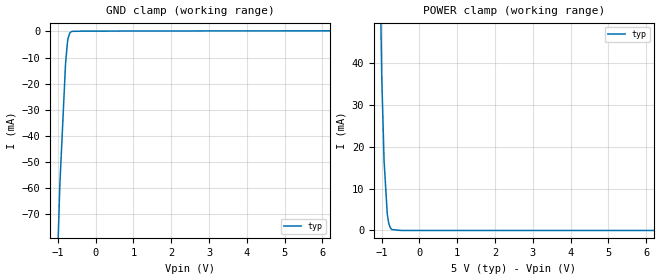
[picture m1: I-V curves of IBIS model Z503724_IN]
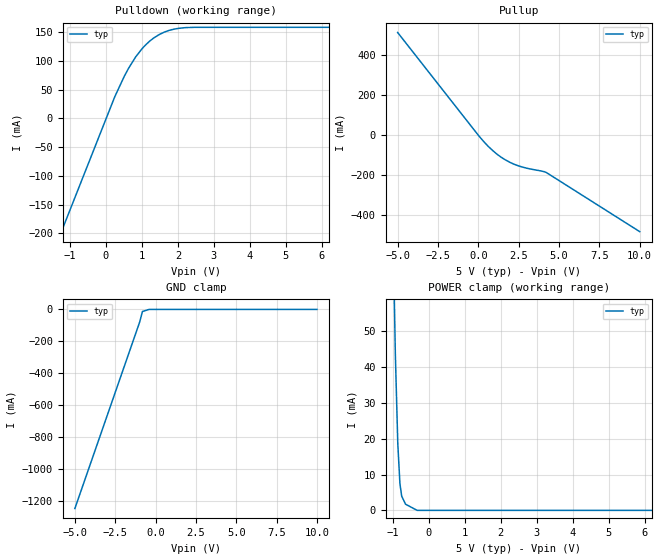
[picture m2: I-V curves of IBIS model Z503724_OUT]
| YOU ARE ONLY AUTHORIZED TO USE THIS SOFTWARE
| ACCORDING TO LICENSOR'S LICENSE RESTRICTIONS.
[IBIS Ver] 3.1
[File Name] mc74ac138n_5.ibs
[File Rev] 2.0
[Source] Measured and created by ICX Technology
[Date] Friday 7/14/00 9:07:58 AM
[Copyright]
| (C) COPYRIGHT 1993-2000
| MENTOR GRAPHICS CORPORATION
| ICX STANDARD LIBRARY, ICX PROJECT MODELING,
| ICX CUSTOM MODELING, ICX VENDOR MODEL
| ALL RIGHTS RESERVED.
| THE FOLLOWING ARE TRADEMARKS OR SERVICE MARKS OF
| MENTOR GRAPHICS CORPORATION:ICX (R), ICX STANDARD
| LIBRARY(R), ICX PROJECT MODELING(R), ICX CUSTOM
| MODELING(R), qualityIBIS(TM), MODELVIEWER(TM),
| AND MODELEDITOR(TM)
| ALL COPIES OF SOFTWARE, INCLUDING BUT NOT LIMITED TO
| ANY MODIFICATIONS, ENHANCEMENTS OR DERIVATIVE WORKS,
| MUST CONTAIN ALL MENTOR GRAPHICS CORPORATION'S
| NOTICES AND LEGENDS, INCLUDING THOSE EMBEDDED IN
| SOFTWARE AND THOSE AFFIXED TO SOFTWARE MEDIUM
| AND CONTAINER, AS RECEIVED FROM MENTOR GRAPHICS
| CORPORATION.
|  ZAP Model Builder 2.7
[Component] MC74AC138N_5
[Manufacturer] OnSemiconductor
[Package]
| variable   typ   min   max
R_pkg  .212ohms NA NA
L_pkg  4.758nH NA NA
C_pkg  1.143pF NA NA
[Pin] signal_name  model_name  R_pin  L_pin C_pin
1 A Z503724_IN .224 7.258n 1.578p
2 B Z503724_IN .216 5.258n 1.288p
3 C Z503724_IN .208 3.758n .998p
4 _G3 Z503724_IN .2 2.758n .708p
5 _G2 Z503724_IN .2 2.758n .708p
6 G1 Z503724_IN .208 3.758n .998p
7 _Y7 Z503724_OUT .216 5.258n 1.288p
8 GND GND .224 7.258n 1.578p
9 _Y6 Z503724_OUT .224 7.258n 1.578p
10 _Y5 Z503724_OUT .216 5.258n 1.288p
11 _Y4 Z503724_OUT .208 3.758n .998p
12 _Y3 Z503724_OUT .2 2.758n .708p
13 _Y2 Z503724_OUT .2 2.758n .708p
14 _Y1 Z503724_OUT .208 3.758n .998p
15 _Y0 Z503724_OUT .216 5.258n 1.288p
16 VCC POWER .224 7.258n 1.578p
| Models and submodels in the file (2): Z503724_IN (Input), Z503724_OUT (Output)
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| (C) COPYRIGHT 1993-2000
| MENTOR GRAPHICS CORPORATION
| ICX STANDARD LIBRARY, ICX PROJECT MODELING,
| ICX CUSTOM MODELING, ICX VENDOR MODEL
| ALL RIGHTS RESERVED.
| THE FOLLOWING ARE TRADEMARKS OR SERVICE MARKS OF
| MENTOR GRAPHICS CORPORATION:ICX (R), ICX STANDARD
| LIBRARY(R), ICX PROJECT MODELING(R), ICX CUSTOM
| MODELING(R), qualityIBIS(TM), MODELVIEWER(TM),
| AND MODELEDITOR(TM)
| ALL COPIES OF SOFTWARE, INCLUDING BUT NOT LIMITED TO
| ANY MODIFICATIONS, ENHANCEMENTS OR DERIVATIVE WORKS,
| MUST CONTAIN ALL MENTOR GRAPHICS CORPORATION'S
| NOTICES AND LEGENDS, INCLUDING THOSE EMBEDDED IN
| SOFTWARE AND THOSE AFFIXED TO SOFTWARE MEDIUM
| AND CONTAINER, AS RECEIVED FROM MENTOR GRAPHICS
| CORPORATION.
| Model Application Version 1.89 2/18/99.
[Model] Z503724_IN
Model_type Input
Vinl = 1.500V
Vinh = 3.500V
C_comp 4.000pF NA NA
| variable typ   min   max
[Voltage Range] 5.000V NA NA
[GND Clamp Reference] 0.000V NA NA
[POWER Clamp Reference] 5.000V NA NA
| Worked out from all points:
|   GND clamp passes 1 mA (typ) near -0.69 V on its own axis
|   POWER clamp passes 1 mA (typ) near -0.78 V on its own axis
[GND Clamp]
-5V       -2.2A      NA         NA
-1.04V    -102.6mA   NA         NA
-946.5mV  -58.74mA   NA         NA
-796mV    -12.31mA   NA         NA
-746.6mV  -4.265mA   NA         NA
-729.2mV  -2.594mA   NA         NA
-686.8mV  -690.6uA   NA         NA
-647.9mV  -87.03uA   NA         NA
10V       362.2uA    NA         NA
[POWER Clamp]
-5V       3.964A     NA         NA
-1.265V   230.3mA    NA         NA
-1.118V   108mA      NA         NA
-996mV    36.79mA    NA         NA
-934mV    16.62mA    NA         NA
-850mV    3.952mA    NA         NA
-812mV    1.745mA    NA         NA
-771mV    671.7uA    NA         NA
-733mV    237.7uA    NA         NA
-488.7mV  0A         NA         NA
10V       0A         NA         NA
| (C) COPYRIGHT 1993-2000
| MENTOR GRAPHICS CORPORATION
| ICX STANDARD LIBRARY, ICX PROJECT MODELING,
| ICX CUSTOM MODELING, ICX VENDOR MODEL
| ALL RIGHTS RESERVED.
| THE FOLLOWING ARE TRADEMARKS OR SERVICE MARKS OF
| MENTOR GRAPHICS CORPORATION:ICX (R), ICX STANDARD
| LIBRARY(R), ICX PROJECT MODELING(R), ICX CUSTOM
| MODELING(R), qualityIBIS(TM), MODELVIEWER(TM),
| AND MODELEDITOR(TM)
| ALL COPIES OF SOFTWARE, INCLUDING BUT NOT LIMITED TO
| ANY MODIFICATIONS, ENHANCEMENTS OR DERIVATIVE WORKS,
| MUST CONTAIN ALL MENTOR GRAPHICS CORPORATION'S
| NOTICES AND LEGENDS, INCLUDING THOSE EMBEDDED IN
| SOFTWARE AND THOSE AFFIXED TO SOFTWARE MEDIUM
| AND CONTAINER, AS RECEIVED FROM MENTOR GRAPHICS
| CORPORATION.
| Model Application Version 1.89 2/18/99.
[Model] Z503724_OUT
Model_type Output
Vref=0.000V
Rref=500.0ohms
Cref=50.00pF
Vmeas=2.500V
C_comp 8.000pF NA NA
| variable typ   min   max
[Voltage Range] 5.000V NA NA
[POWER Clamp Reference] 5.000V NA NA
[Pullup Reference] 5.000V NA NA
[Pulldown Reference] 0.000V NA NA
[GND Clamp Reference] 0.000V NA NA
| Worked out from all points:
|   slope of the pulldown table from 0 to 0.75 V, typ, clamps not added: 7.46 ohm
|   slope of the pullup table from 0 to 0.75 V, typ, clamps not added: 11.4 ohm
[GND Clamp]
-5V       -1.245A    NA         NA
-977.2mV  -76.91mA   NA         NA
-815.2mV  -13.38mA   NA         NA
-407.6mV  0A         NA         NA
10V       0A         NA         NA
[Pulldown]
-5V       -793.2mA   NA         NA
244.6mV   37.68mA    NA         NA
508.9mV   73.26mA    NA         NA
630.2mV   87.44mA    NA         NA
827.9mV   107.3mA    NA         NA
1.012V    122mA      NA         NA
1.217V    134.7mA    NA         NA
1.488V    146.3mA    NA         NA
1.621V    150.2mA    NA         NA
2.031V    156.9mA    NA         NA
2.449V    158.6mA    NA         NA
10V       158.6mA    NA         NA
[Pullup]
-5V       511.4mA    NA         NA
34mV      -6.461mA   NA         NA
616mV     -58.8mA    NA         NA
1.172V    -98.67mA   NA         NA
1.648V    -125mA     NA         NA
2.198V    -147.5mA   NA         NA
2.978V    -167.4mA   NA         NA
4.213V    -189.5mA   NA         NA
10V       -485.5mA   NA         NA
[POWER Clamp]
-5V       3.113A     NA         NA
-1.011V   88.67mA    NA         NA
-928mV    43.51mA    NA         NA
-860mV    18.6mA     NA         NA
-801mV    7.47mA     NA         NA
-751mV    3.943mA    NA         NA
-644mV    1.71mA     NA         NA
-322mV    0A         NA         NA
10V       0A         NA         NA
[Ramp]
| variable typ min max
dV/dt_r 2.954/310.5p NA NA
dV/dt_f 2.954/296.9p NA NA
R_load = 500.0Ohms
